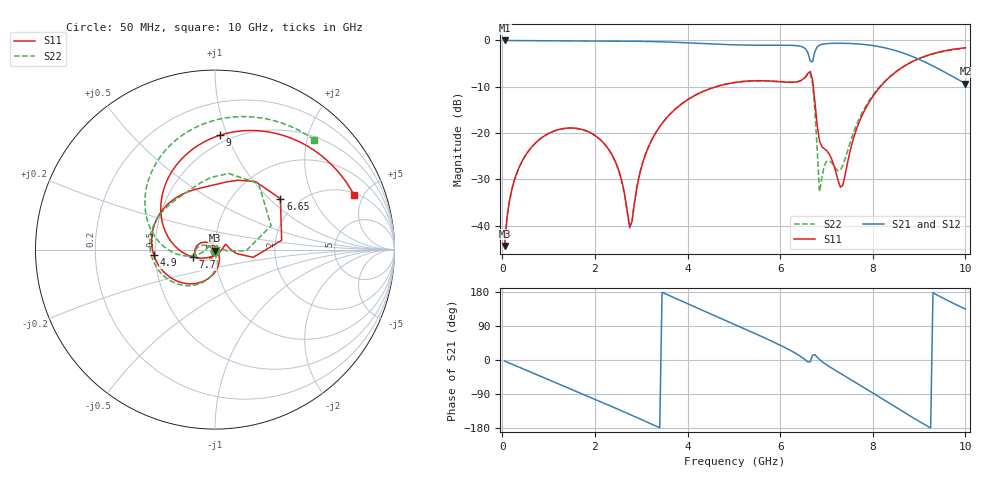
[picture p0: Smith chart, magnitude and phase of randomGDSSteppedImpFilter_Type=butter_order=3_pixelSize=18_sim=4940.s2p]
! freq	dB(S11)	phase(S11)	dB(S12)	phase(S12)
!  dB(S21)	phase(S21)	dB(S22)	phase(S22)
!S-par simulation data
#  GHz  S  DB  R 50
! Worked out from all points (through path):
!   200 points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, 50 MHz to 10 GHz, reference 50 ohm
!   highest |S21| = -0.01 dB at 50 MHz (marker M1); lowest = -9.3 dB at 10 GHz (marker M2)
!   group delay of S21, straight-line fit = 161 ps
!   lowest |S11| = -44.4 dB at 50 MHz (marker M3), VSWR 1.01, Z = 50 - j0.599 ohm
!   |S11| at or under -10 dB: start of sweep to 4.623 GHz; 6.716 GHz to 8.163 GHz (1.448 GHz wide, 19.5 % of centre)
!   |S22| runs from -44.5 to -1.7 dB; largest |S21 - S12| = 0
!   S11 on the Smith chart (normalised r, x): 50 MHz: 1.00, -0.01; 4.9 GHz: 0.49, -0.03; 6.65 GHz: 1.62, +1.17; 7.7 GHz: 0.78, -0.07; 9 GHz: 0.44, +0.94; 10 GHz: 2.17, +4.28
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0.05  -44.43 -92.1  -0.01 -2.7  -0.01 -2.7  -44.45 -91.9
0.2  -32.46 -100.8  -0.03 -10.5  -0.03 -10.5  -32.47 -100.1
0.55  -24.11 -120.0  -0.06 -28.7  -0.06 -28.7  -24.11 -118.2
1.75  -19.33 174.6  -0.16 -90.6  -0.16 -90.6  -19.34 -177.6
2.4  -25.29 134.3  -0.16 -124.6  -0.16 -124.6  -25.35 154.6
2.75  -40.26 49.3  -0.17 -143.4  -0.17 -143.4  -40.47 -155.7
3  -27.57 -56.6  -0.20 -156.9  -0.20 -156.9  -27.48 -78.3
3.4  -18.63 -87.3  -0.29 -178.7  -0.29 -178.7  -18.58 -91.3
4.2  -11.69 -134.9  -0.62 137.7  -0.62 137.7  -11.64 -130.3
4.9  -9.32 -174.9  -0.91 100.1  -0.91 100.1  -9.28 -165.1
5.05  -9.06 176.6  -0.96 92.0  -0.96 92.0  -9.03 -172.6
6.25  -9.06 102.8  -1.07 23.5  -1.07 23.5  -9.04 124.0
6.5  -8.32 79.7  -1.48 4.5  -1.48 4.5  -8.37 101.8
6.65  -6.71 37.9  -4.47 -4.7  -4.47 -4.7  -7.11 56.5
6.7  -8.52 7.9  -4.62 12.5  -4.62 12.5  -9.37 23.0
6.85  -21.71 4.0  -1.01 1.4  -1.01 1.4  -32.67 40.3
7  -23.77 26.2  -0.69 -12.6  -0.69 -12.6  -26.15 110.4
7.3  -31.70 -43.0  -0.62 -35.2  -0.62 -35.2  -28.04 156.6
7.7  -17.81 -161.2  -0.78 -64.4  -0.78 -64.4  -17.08 -165.4
8.35  -8.06 139.6  -1.81 -113.5  -1.81 -113.5  -7.97 158.5
9  -3.91 87.6  -4.10 -161.9  -4.10 -161.9  -3.95 112.8
10  -1.59 21.2  -9.32 134.6  -9.32 134.6  -1.67 47.8
